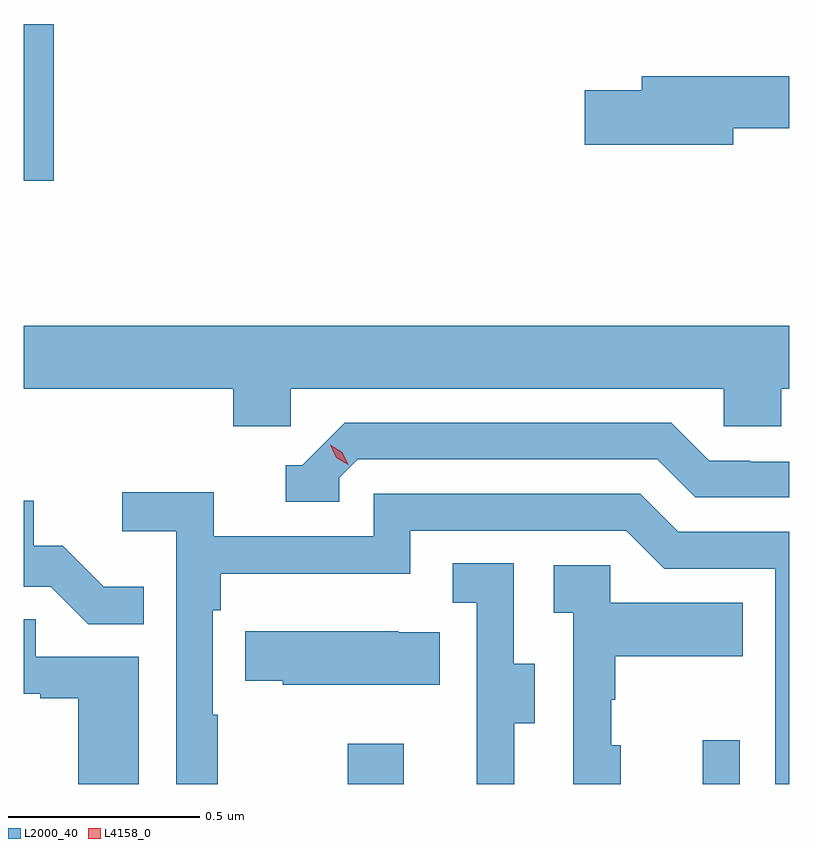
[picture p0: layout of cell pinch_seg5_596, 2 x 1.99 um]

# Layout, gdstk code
import gdstk
lib = gdstk.Library(unit=1e-6, precision=1e-09)
def R(c, l, rs):  # rectangles x0, y0, x1, y1
    for r in rs: c.add(gdstk.rectangle(r[:2], r[2:], *l))
def P(c, l, *ps):  # polygons
    for p in ps: c.add(gdstk.Polygon(p, *l))
L2000_40 = (2000, 40)
L4158_0 = (4158, 0)

pinch_seg5_596 = lib.new_cell('pinch_seg5_596')
R(pinch_seg5_596, L2000_40, [(1126.642,854.395,1126.789,854.5), (1127.57,854.395,1127.667,854.509), (1125.796,855.971,1125.874,856.381)])
P(pinch_seg5_596, L2000_40, [(1127.65,856.108),(1127.796,856.108),(1127.796,856.244),(1127.411,856.244),(1127.411,856.208),(1127.262,856.208),(1127.262,856.066),(1127.65,856.066)],
  [(1126.494,855.428),(1127.625,855.428),(1127.625,855.33),(1127.775,855.33),(1127.775,855.428),(1127.796,855.428),(1127.796,855.592),(1125.796,855.592),(1125.796,855.428),(1126.343,855.428),(1126.343,855.33),(1126.494,855.33)],
  [(1126.62,855.195),(1126.668,855.243),(1127.451,855.243),(1127.55,855.144),(1127.796,855.144),(1127.796,855.237),(1127.694,855.237),(1127.694,855.24),(1127.587,855.24),(1127.488,855.339),(1126.635,855.339),(1126.524,855.228),(1126.481,855.228),(1126.481,855.132),(1126.62,855.132)],
  [(1126.303,854.576),(1126.29,854.576),(1126.29,854.849),(1126.31,854.849),(1126.31,854.945),(1126.806,854.945),(1126.806,855.057),(1127.37,855.057),(1127.469,854.958),(1127.76,854.958),(1127.76,854.395),(1127.796,854.395),(1127.796,855.054),(1127.506,855.054),(1127.407,855.153),(1126.71,855.153),(1126.71,855.042),(1126.292,855.042),(1126.292,855.158),(1126.053,855.158),(1126.053,855.056),(1126.194,855.056),(1126.194,854.395),(1126.303,854.395)],
  [(1126.109,854.911),(1126.005,854.911),(1125.898,855.018),(1125.822,855.018),(1125.822,855.135),(1125.796,855.135),(1125.796,854.91),(1125.867,854.91),(1125.965,854.812),(1126.109,854.812)],
  [(1127.077,854.554),(1127.131,854.554),(1127.131,854.709),(1127.076,854.709),(1127.076,854.972),(1126.917,854.972),(1126.917,854.869),(1126.98,854.869),(1126.98,854.565),(1126.979,854.565),(1126.979,854.395),(1127.077,854.395)],
  [(1127.356,854.496),(1127.331,854.496),(1127.331,854.615),(1127.341,854.615),(1127.341,854.729),(1127.675,854.729),(1127.675,854.869),(1127.328,854.869),(1127.328,854.967),(1127.181,854.967),(1127.181,854.843),(1127.232,854.843),(1127.232,854.395),(1127.356,854.395)],
  [(1126.096,854.727),(1125.827,854.727),(1125.827,854.825),(1125.796,854.825),(1125.796,854.631),(1125.839,854.631),(1125.839,854.619),(1125.938,854.619),(1125.938,854.395),(1126.096,854.395)],
  [(1126.883,854.791),(1126.775,854.791),(1126.775,854.794),(1126.375,854.794),(1126.375,854.665),(1126.473,854.665),(1126.473,854.654),(1126.883,854.654)])
P(pinch_seg5_596, L4158_0, [(1126.644,855.229),(1126.613,855.248),(1126.597,855.281),(1126.597,855.281),(1126.597,855.281),(1126.628,855.262),(1126.644,855.229),(1126.644,855.229)])

lib.write_gds('pinch_seg5_596.gds')
